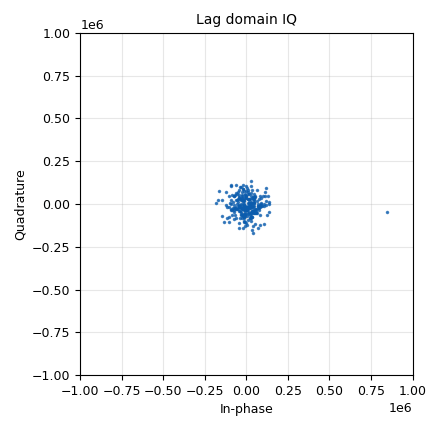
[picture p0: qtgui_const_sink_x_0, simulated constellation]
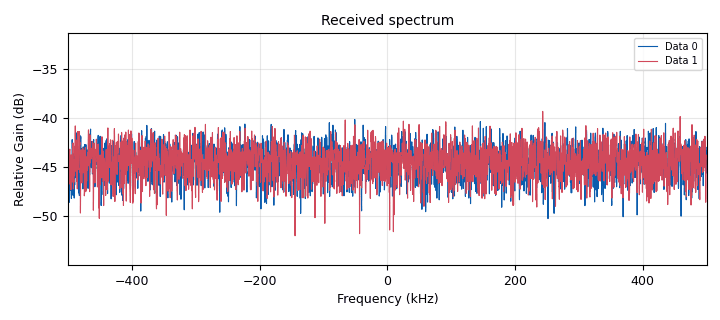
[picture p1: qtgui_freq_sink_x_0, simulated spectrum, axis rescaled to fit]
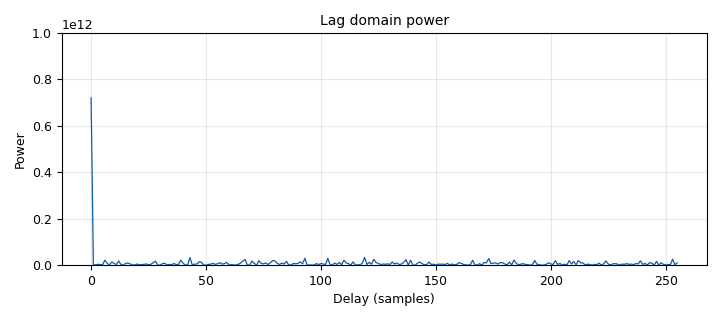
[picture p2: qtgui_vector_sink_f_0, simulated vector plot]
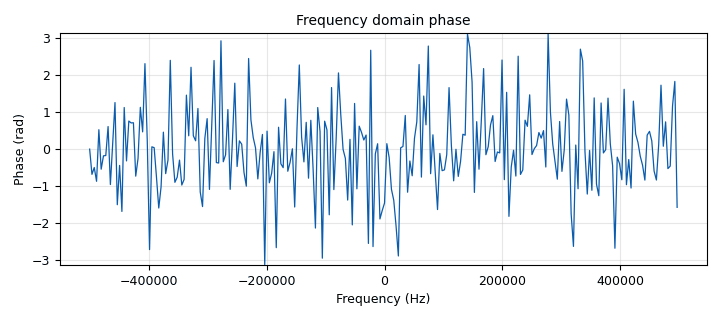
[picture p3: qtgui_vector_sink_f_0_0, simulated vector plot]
options:
  parameters:
    author: Daniel Estevez
    generate_options: qt_gui
    id: interferometry_simulation
    output_language: python
    title: Interferometry Simulation
  states: {}

blocks:
- name: ant2_delay
  id: variable_qtgui_entry
  parameters:
    gui_hint: 4,0,1,1
    label: Antenna 2 delay
    type: int
    value: '0'
  states: {}
- name: ant2_phase
  id: variable_qtgui_entry
  parameters:
    gui_hint: 4,1,1,1
    label: Antenna 2 phase (rad)
    type: real
    value: '0'
  states: {}
- name: delay_rate
  id: variable_qtgui_entry
  parameters:
    gui_hint: 3,0,1,1
    label: Delay rate (try 1e-6)
    type: real
    value: '0'
  states: {}
- name: nfft
  id: variable
  parameters:
    value: '256'
  states: {}
- name: noise_power
  id: variable_qtgui_entry
  parameters:
    gui_hint: 2,1,1,1
    label: Noise power
    type: real
    value: '1'
  states: {}
- name: phase_rate
  id: variable_qtgui_entry
  parameters:
    gui_hint: 3,1,1,1
    label: Phase rate (try 1e-7)
    type: real
    value: '0'
  states: {}
- name: samp_rate
  id: variable
  parameters:
    value: 1e6
  states: {}
- name: scale
  id: variable
  parameters:
    value: 1e6
  states: {}
- name: source_power
  id: variable_qtgui_entry
  parameters:
    gui_hint: 2,0,1,1
    label: Source power
    type: real
    value: '3e-2'
  states: {}
- name: t_int
  id: variable
  parameters:
    value: '0.1'
  states: {}
- name: analog_noise_source_x_0
  id: analog_noise_source_x
  parameters:
    amp: np.sqrt(source_power)
    comment: This simulates an astronomical source
    noise_type: analog.GR_GAUSSIAN
    seed: '0'
    type: complex
  states: {}
- name: blocks_complex_to_arg_0
  id: blocks_complex_to_arg
  parameters:
    vlen: nfft
  states: {}
- name: blocks_complex_to_mag_squared_0
  id: blocks_complex_to_mag_squared
  parameters:
    vlen: nfft
  states: {}
- name: blocks_delay_0
  id: blocks_delay
  parameters:
    delay: ant2_delay
    type: complex
  states: {}
- name: blocks_integrate_xx_0
  id: blocks_integrate_xx
  parameters:
    decim: int(t_int*samp_rate/nfft)
    type: complex
    vlen: nfft
  states: {}
- name: blocks_multiply_conjugate_cc_0
  id: blocks_multiply_conjugate_cc
  parameters:
    vlen: nfft
  states: {}
- name: blocks_multiply_const_vxx_0
  id: blocks_multiply_const_vxx
  parameters:
    const: np.exp(1j * ant2_phase)
    type: complex
  states: {}
- name: blocks_repeat_0
  id: blocks_repeat
  parameters:
    interp: '100'
    type: complex
    vlen: nfft
  states: {}
- name: blocks_repeat_0_0
  id: blocks_repeat
  parameters:
    interp: '100'
    type: float
    vlen: nfft
  states: {}
- name: blocks_stream_to_vector_0
  id: blocks_stream_to_vector
  parameters:
    num_items: nfft
    type: complex
  states: {}
- name: blocks_stream_to_vector_0_0
  id: blocks_stream_to_vector
  parameters:
    num_items: nfft
    type: complex
  states: {}
- name: blocks_throttle_0
  id: blocks_throttle
  parameters:
    samples_per_second: samp_rate
    type: complex
  states: {}
- name: blocks_vector_to_stream_0
  id: blocks_vector_to_stream
  parameters:
    num_items: nfft
    type: complex
  states: {}
- name: channels_channel_model_0
  id: channels_channel_model
  parameters:
    comment: This represents antenna 1's LNA and propagation path
    epsilon: 1.0+delay_rate
    freq_offset: phase_rate
    noise_voltage: noise_power
    seed: '0'
    taps: '1.0'
  states: {}
- name: channels_channel_model_0_0
  id: channels_channel_model
  parameters:
    comment: This represents antenna 2's LNA and propagation path
    epsilon: '1.0'
    freq_offset: '0.0'
    noise_voltage: noise_power
    seed: '1'
    taps: '1.0'
  states: {}
- name: fft_vxx_0
  id: fft_vxx
  parameters:
    fft_size: nfft
    forward: 'True'
    shift: 'True'
    type: complex
    window: window.rectangular(nfft)
  states: {}
- name: fft_vxx_0_0
  id: fft_vxx
  parameters:
    fft_size: nfft
    forward: 'True'
    shift: 'True'
    type: complex
    window: window.rectangular(nfft)
  states: {}
- name: fft_vxx_0_1
  id: fft_vxx
  parameters:
    fft_size: nfft
    forward: 'False'
    shift: 'True'
    type: complex
    window: window.rectangular(nfft)
  states: {}
- name: import_0
  id: import
  parameters:
    imports: import numpy as np
  states: {}
- name: qtgui_const_sink_x_0
  id: qtgui_const_sink_x
  parameters:
    gui_hint: 0,1,1,1
    legend: 'False'
    name: Lag domain IQ
    size: nfft
    style1: '1'
    type: complex
    xmax: scale
    xmin: '-scale'
    ymax: scale
    ymin: '-scale'
  states: {}
- name: qtgui_freq_sink_x_0
  id: qtgui_freq_sink_x
  parameters:
    average: '0.1'
    bw: samp_rate
    fc: '0'
    fftsize: '4096'
    gui_hint: 0,0,1,1
    name: Received spectrum
    nconnections: '2'
    type: complex
  states: {}
- name: qtgui_vector_sink_f_0
  id: qtgui_vector_sink_f
  parameters:
    gui_hint: 1,0,1,1
    name: '"Lag domain power"'
    vlen: nfft
    x_axis_label: '"Delay (samples)"'
    x_start: '0'
    x_step: '1.0'
    x_units: '"samples"'
    y_axis_label: '"Power"'
    ymax: scale**2
    ymin: '0'
  states: {}
- name: qtgui_vector_sink_f_0_0
  id: qtgui_vector_sink_f
  parameters:
    gui_hint: 1,1,1,1
    name: '"Frequency domain phase"'
    vlen: nfft
    x_axis_label: '"Frequency (Hz)"'
    x_start: '-samp_rate/2'
    x_step: samp_rate/nfft
    x_units: '"Hz"'
    y_axis_label: '"Phase (rad)"'
    y_units: '"rad"'
    ymax: np.pi
    ymin: '-np.pi'
  states: {}
- name: virtual_sink_0
  id: virtual_sink
  parameters:
    stream_id: correlation
  states: {}
- name: virtual_source_0
  id: virtual_source
  parameters:
    stream_id: correlation
  states: {}

connections:
- [analog_noise_source_x_0, '0', blocks_throttle_0, '0']
- [blocks_complex_to_arg_0, '0', blocks_repeat_0_0, '0']
- [blocks_complex_to_mag_squared_0, '0', qtgui_vector_sink_f_0, '0']
- [blocks_delay_0, '0', blocks_multiply_const_vxx_0, '0']
- [blocks_integrate_xx_0, '0', blocks_complex_to_arg_0, '0']
- [blocks_integrate_xx_0, '0', fft_vxx_0_1, '0']
- [blocks_multiply_conjugate_cc_0, '0', virtual_sink_0, '0']
- [blocks_multiply_const_vxx_0, '0', blocks_stream_to_vector_0_0, '0']
- [blocks_repeat_0, '0', blocks_complex_to_mag_squared_0, '0']
- [blocks_repeat_0, '0', blocks_vector_to_stream_0, '0']
- [blocks_repeat_0_0, '0', qtgui_vector_sink_f_0_0, '0']
- [blocks_stream_to_vector_0, '0', fft_vxx_0, '0']
- [blocks_stream_to_vector_0_0, '0', fft_vxx_0_0, '0']
- [blocks_throttle_0, '0', channels_channel_model_0, '0']
- [blocks_throttle_0, '0', channels_channel_model_0_0, '0']
- [blocks_vector_to_stream_0, '0', qtgui_const_sink_x_0, '0']
- [channels_channel_model_0, '0', blocks_stream_to_vector_0, '0']
- [channels_channel_model_0, '0', qtgui_freq_sink_x_0, '0']
- [channels_channel_model_0_0, '0', blocks_delay_0, '0']
- [channels_channel_model_0_0, '0', qtgui_freq_sink_x_0, '1']
- [fft_vxx_0, '0', blocks_multiply_conjugate_cc_0, '0']
- [fft_vxx_0_0, '0', blocks_multiply_conjugate_cc_0, '1']
- [fft_vxx_0_1, '0', blocks_repeat_0, '0']
- [virtual_source_0, '0', blocks_integrate_xx_0, '0']

metadata:
  file_format: 1
  grc_version: 3.10.2.0
